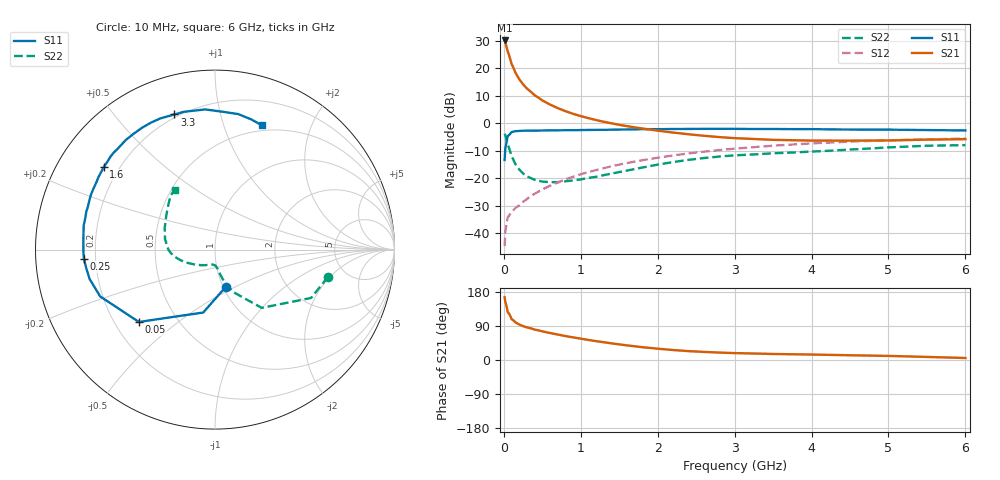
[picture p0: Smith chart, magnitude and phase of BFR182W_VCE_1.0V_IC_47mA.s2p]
! Infineon Technologies  Discrete & RF Semiconductors
! BFR182W
! VCE =  1.0 V,  IC =  47 mA
! Common Emitter S-Parameters:  Jan 2017
# GHz  S  MA  R  50
!  f  S11  S21  S12  S22
! GHz  MAG  ANG  MAG  ANG  MAG  ANG  MAG  ANG
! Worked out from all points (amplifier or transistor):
!   77 points, 10 MHz to 6 GHz, reference 50 ohm
!   highest |S21| = 30.1 dB at 10 MHz (marker M1)
!   |S21| within 3 dB of that: start of sweep to 40.79 MHz
!   unconditionally stable (mu >= 1): start of sweep to 16.51 MHz; 153.5 MHz to end of sweep
!   at 130 MHz: K = 0.92, MSG = 25.7 dB, |S12| = -31.5 dB
!   at 2.2 GHz: K = 1.20, MAG = 1.5 dB, |S12| = -11.7 dB
!   at 6 GHz: K = 1.13, MAG = -2.3 dB, |S12| = -5.6 dB
!   S11 on the Smith chart (normalised r, x): 10 MHz: 1.03, -0.45; 50 MHz: 0.30, -0.37; 250 MHz: 0.15, -0.03; 1.6 GHz: 0.14, +0.32; 3.3 GHz: 0.18, +0.73; 6 GHz: 0.44, +1.35
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0.01  0.2153 -73.6  32.13 165.5  0.0058 62.3  0.6476 -13.6
0.02  0.3568 -100.6  29.8 152.6  0.0106 59.9  0.5994 -26.7
0.05  0.5847 -136.4  20.43 126.5  0.0192 48.3  0.416 -51.3
0.1  0.691 -157.8  12.06 107.9  0.0239 45.8  0.252 -67.6
0.15  0.7176 -166.8  8.36 99.3  0.0286 48.7  0.1805 -74.4
0.2  0.7255 -172.2  6.352 93.7  0.0321 53.5  0.1444 -77.8
0.25  0.7321 -176.0  5.122 89.3  0.0372 56.4  0.1224 -80.2
0.3  0.7332 -178.8  4.282 86.1  0.0417 59.4  0.108 -82.4
0.4  0.7351 176.5  3.243 80.3  0.0521 63.7  0.0935 -86.4
0.5  0.7386 172.7  2.608 75.6  0.0622 66.3  0.0868 -91.2
0.6  0.7439 169.5  2.191 71.2  0.0731 67.1  0.0849 -96.3
0.8  0.7474 163.7  1.662 63.2  0.0953 69.3  0.0879 -105.7
0.9  0.7477 160.9  1.485 59.7  0.1065 68.9  0.0914 -111.1
1.1  0.7564 155.6  1.239 52.9  0.1295 68.6  0.1014 -120.9
1.3  0.7596 150.6  1.064 46.9  0.1522 67.2  0.1138 -129.9
1.6  0.7715 143.4  0.887 38.6  0.1886 64.9  0.1378 -142.4
2.1  0.7834 131.5  0.705 28.1  0.2475 59.3  0.1864 -159.1
3.1  0.789 110.6  0.529 17.8  0.3539 46.0  0.2646 177.2
3.3  0.7862 106.7  0.514 16.9  0.3719 43.2  0.2736 172.6
4.1  0.779 92.5  0.484 14.0  0.4369 32.6  0.3101 153.8
5.1  0.7628 79.1  0.49 10.2  0.4926 20.6  0.3688 134.0
6  0.7405 69.5  0.514 5.3  0.5269 11.1  0.4006 124.1
